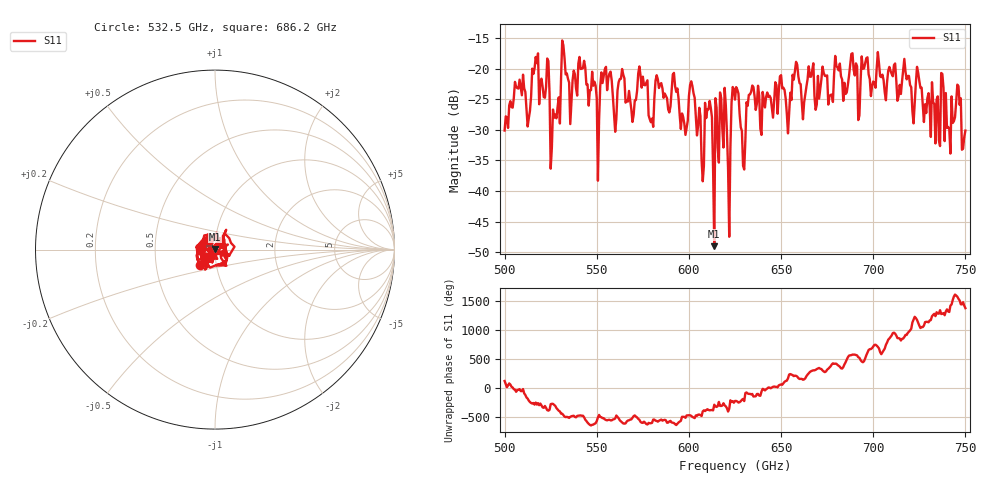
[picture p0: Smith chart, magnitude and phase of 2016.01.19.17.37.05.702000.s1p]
!Created with skrf (http://scikit-rf.org).
# GHz S RI R 50.0
!freq ReS11 ImS11
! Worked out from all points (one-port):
!   401 points, 500 GHz to 750 GHz, reference 50 ohm
!   lowest |S11| = -49.0 dB at 613.8 GHz (marker M1), VSWR 1.01, Z = 50.1 + j0.338 ohm
!   |S11| at or under -10 dB: start of sweep to end of sweep
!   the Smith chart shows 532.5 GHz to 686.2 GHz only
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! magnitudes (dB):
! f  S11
! 500 GHz  -30.1
! 506.9 GHz  -23.2
! 513.1 GHz  -28.1
! 516.9 GHz  -18.1
! 526.2 GHz  -26.7
! 531.2 GHz  -15.4
! 550.6 GHz  -38.3
! 553.8 GHz  -21.3
! 562.5 GHz  -21.7
! 579.4 GHz  -28.8
! 583.1 GHz  -21.7
! 593.8 GHz  -23.3
! 598.1 GHz  -30.8
! 601.9 GHz  -22.8
! 606.9 GHz  -34.9
! 611.2 GHz  -25.3
! 613.8 GHz  -49.0
! 618.1 GHz  -29.8
! 621.9 GHz  -47.5
! 625 GHz  -25.1
! 629.4 GHz  -35.9
! 633.8 GHz  -23.8
! 656.2 GHz  -21.0
! 687.5 GHz  -19.4
! 718.8 GHz  -21.2
! 735 GHz  -24.5
! 746.2 GHz  -22.9
! 750 GHz  -30.1
